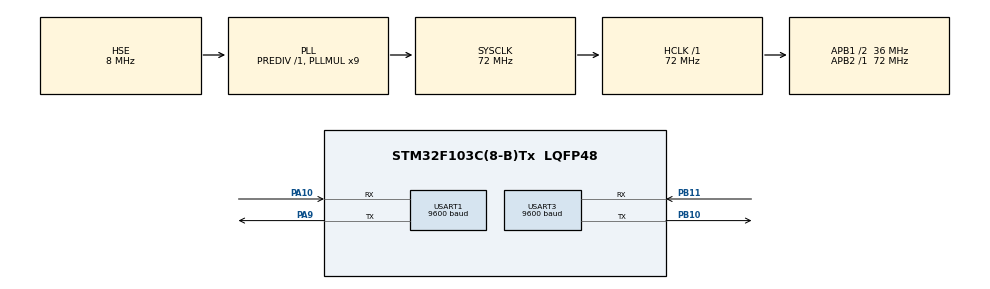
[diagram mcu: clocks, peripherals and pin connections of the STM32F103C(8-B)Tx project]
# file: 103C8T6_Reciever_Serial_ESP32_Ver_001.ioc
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Mcu.Family=STM32F1
Mcu.Name=STM32F103C(8-B)Tx
Mcu.Package=LQFP48
NVIC.PriorityGroup=NVIC_PRIORITYGROUP_4
NVIC.USART3_IRQn=true\:0\:0\:false\:false\:true\:true\:true\:true
PA10.Mode=Asynchronous
PA10.Signal=USART1_RX
PA13.Mode=Serial_Wire
PA13.Signal=SYS_JTMS-SWDIO
PA14.Mode=Serial_Wire
PA14.Signal=SYS_JTCK-SWCLK
PA9.Mode=Asynchronous
PA9.Signal=USART1_TX
PB10.Mode=Asynchronous
PB10.Signal=USART3_TX
PB11.Mode=Asynchronous
PB11.Signal=USART3_RX
PC14-OSC32_IN.Mode=LSE-External-Oscillator
PC14-OSC32_IN.Signal=RCC_OSC32_IN
PC15-OSC32_OUT.Mode=LSE-External-Oscillator
PC15-OSC32_OUT.Signal=RCC_OSC32_OUT
PD0-OSC_IN.Mode=HSE-External-Oscillator
PD0-OSC_IN.Signal=RCC_OSC_IN
PD1-OSC_OUT.Mode=HSE-External-Oscillator
PD1-OSC_OUT.Signal=RCC_OSC_OUT
ProjectManager.HeapSize=0x200
ProjectManager.StackSize=0x400
ProjectManager.TargetToolchain=STM32CubeIDE
RCC.AHBFreq_Value=72000000
RCC.APB1CLKDivider=RCC_HCLK_DIV2
RCC.APB1Freq_Value=36000000
RCC.APB1TimFreq_Value=72000000
RCC.APB2Freq_Value=72000000
RCC.APB2TimFreq_Value=72000000
RCC.HCLKFreq_Value=72000000
RCC.PLLMUL=RCC_PLL_MUL9
RCC.PLLSourceVirtual=RCC_PLLSOURCE_HSE
RCC.SYSCLKFreq_VALUE=72000000
RCC.SYSCLKSource=RCC_SYSCLKSOURCE_PLLCLK
RCC.USBFreq_Value=72000000
USART1.BaudRate=9600
USART1.VirtualMode=VM_ASYNC
USART3.BaudRate=9600
USART3.VirtualMode=VM_ASYNC
board=custom

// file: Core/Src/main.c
/* USER CODE BEGIN Header */
/**
 ******************************************************************************
 * @file           : main.c
 * @brief          : Main program body
 ******************************************************************************
 * @attention
 *
 * Copyright (c) 2025 STMicroelectronics.
 * All rights reserved.
 *
 * This software is licensed under terms that can be found in the LICENSE file
 * in the root directory of this software component.
 * If no LICENSE file comes with this software, it is provided AS-IS.
 *
 ******************************************************************************
 */
/* USER CODE END Header */
#include "main.h"

/* USER CODE BEGIN Includes */
#include <string.h>
#include <stdio.h>
#include <stdint.h>
#include <stdlib.h>
/* USER CODE END Includes */

UART_HandleTypeDef huart1;
UART_HandleTypeDef huart3;

/* USER CODE BEGIN PV */

#define RBUF_SIZE 256
volatile uint8_t rbuf[RBUF_SIZE];
volatile uint16_t rhead = 0, rtail = 0;

uint8_t rx3_byte;
char line[64];
uint8_t idx = 0;
/* USER CODE END PV */

void SystemClock_Config(void);
static void MX_GPIO_Init(void);
static void MX_USART1_UART_Init(void);
static void MX_USART3_UART_Init(void);
/* USER CODE BEGIN PFP */
void UART3_Send(char *s);
static inline void rbuf_push(uint8_t b);
static inline int rbuf_pop(uint8_t *out);
/* USER CODE END PFP */

int main(void) {

	/* MCU Configuration--------------------------------------------------------*/

	/* Reset of all peripherals, Initializes the Flash interface and the Systick. */
	HAL_Init();

	/* Configure the system clock */
	SystemClock_Config();

	/* Initialize all configured peripherals */
	MX_GPIO_Init();
	MX_USART1_UART_Init();
	MX_USART3_UART_Init();
	/* USER CODE BEGIN 2 */
	// Tell PC STM32 is ready
	HAL_UART_Transmit(&huart1, (uint8_t*) "STM32 READY (UART1)\r\n", 22,
	HAL_MAX_DELAY);

	HAL_Delay(500);  // Wait for ESP32 UART startup

	UART3_Send("hello esp i am stm32 helooskhffdshfbfjskdhcs\n");

	HAL_UART_Receive_IT(&huart3, &rx3_byte, 1);
	/* USER CODE END 2 */

	/* Infinite loop */
	while (1) {

		/* USER CODE BEGIN 3 */
		uint8_t c;

		while (rbuf_pop(&c)) {
			if (c == '\n') {
				line[idx] = 0;
				idx = 0;

				HAL_UART_Transmit(&huart1, (uint8_t*) "ESP→STM: ", 9,
				HAL_MAX_DELAY);
				HAL_UART_Transmit(&huart1, (uint8_t*) line, strlen(line),
				HAL_MAX_DELAY);
				HAL_UART_Transmit(&huart1, (uint8_t*) "\r\n", 2, HAL_MAX_DELAY);
			} else if (c != '\r' && idx < sizeof(line) - 1) {
				line[idx++] = c;
			}
		}

	}
	/* USER CODE END 3 */
}

void SystemClock_Config(void) {
	RCC_OscInitTypeDef RCC_OscInitStruct = { 0 };
	RCC_ClkInitTypeDef RCC_ClkInitStruct = { 0 };

	/** Initializes the RCC Oscillators according to the specified parameters
	 * in the RCC_OscInitTypeDef structure.
	 */
	RCC_OscInitStruct.OscillatorType = RCC_OSCILLATORTYPE_HSE;
	RCC_OscInitStruct.HSEState = RCC_HSE_ON;
	RCC_OscInitStruct.HSEPredivValue = RCC_HSE_PREDIV_DIV1;
	RCC_OscInitStruct.HSIState = RCC_HSI_ON;
	RCC_OscInitStruct.PLL.PLLState = RCC_PLL_ON;
	RCC_OscInitStruct.PLL.PLLSource = RCC_PLLSOURCE_HSE;
	RCC_OscInitStruct.PLL.PLLMUL = RCC_PLL_MUL9;
	if (HAL_RCC_OscConfig(&RCC_OscInitStruct) != HAL_OK) {
		Error_Handler();
	}

	/** Initializes the CPU, AHB and APB buses clocks
	 */
	RCC_ClkInitStruct.ClockType = RCC_CLOCKTYPE_HCLK | RCC_CLOCKTYPE_SYSCLK
			| RCC_CLOCKTYPE_PCLK1 | RCC_CLOCKTYPE_PCLK2;
	RCC_ClkInitStruct.SYSCLKSource = RCC_SYSCLKSOURCE_PLLCLK;
	RCC_ClkInitStruct.AHBCLKDivider = RCC_SYSCLK_DIV1;
	RCC_ClkInitStruct.APB1CLKDivider = RCC_HCLK_DIV2;
	RCC_ClkInitStruct.APB2CLKDivider = RCC_HCLK_DIV1;

	if (HAL_RCC_ClockConfig(&RCC_ClkInitStruct, FLASH_LATENCY_2) != HAL_OK) {
		Error_Handler();
	}
}

static void MX_USART1_UART_Init(void) {

	huart1.Instance = USART1;
	huart1.Init.BaudRate = 9600;
	huart1.Init.WordLength = UART_WORDLENGTH_8B;
	huart1.Init.StopBits = UART_STOPBITS_1;
	huart1.Init.Parity = UART_PARITY_NONE;
	huart1.Init.Mode = UART_MODE_TX_RX;
	huart1.Init.HwFlowCtl = UART_HWCONTROL_NONE;
	huart1.Init.OverSampling = UART_OVERSAMPLING_16;
	if (HAL_UART_Init(&huart1) != HAL_OK) {
		Error_Handler();
	}

}

static void MX_USART3_UART_Init(void) {

	huart3.Instance = USART3;
	huart3.Init.BaudRate = 9600;
	huart3.Init.WordLength = UART_WORDLENGTH_8B;
	huart3.Init.StopBits = UART_STOPBITS_1;
	huart3.Init.Parity = UART_PARITY_NONE;
	huart3.Init.Mode = UART_MODE_TX_RX;
	huart3.Init.HwFlowCtl = UART_HWCONTROL_NONE;
	huart3.Init.OverSampling = UART_OVERSAMPLING_16;
	if (HAL_UART_Init(&huart3) != HAL_OK) {
		Error_Handler();
	}

}

static void MX_GPIO_Init(void) {

	/* GPIO Ports Clock Enable */
	__HAL_RCC_GPIOC_CLK_ENABLE();
	__HAL_RCC_GPIOD_CLK_ENABLE();
	__HAL_RCC_GPIOB_CLK_ENABLE();
	__HAL_RCC_GPIOA_CLK_ENABLE();

}

/* USER CODE BEGIN 4 */
void HAL_UART_RxCpltCallback(UART_HandleTypeDef *huart) {
	if (huart->Instance == USART3) {
		rbuf_push(rx3_byte);
		HAL_UART_Receive_IT(&huart3, &rx3_byte, 1);
	}
}

void UART3_Send(char *s) {
	HAL_UART_Transmit(&huart3, (uint8_t*) s, strlen(s), HAL_MAX_DELAY);
}

static inline void rbuf_push(uint8_t b) {
	uint16_t next = (rhead + 1) & (RBUF_SIZE - 1);
	if (next != rtail) {
		rbuf[rhead] = b;
		rhead = next;
	}
}

static inline int rbuf_pop(uint8_t *out) {
	if (rhead == rtail)
		return 0;

	*out = rbuf[rtail];
	rtail = (rtail + 1) & (RBUF_SIZE - 1);
	return 1;
}
/* USER CODE END 4 */

void Error_Handler(void) {
	__disable_irq();
	while (1) {
	}
}
